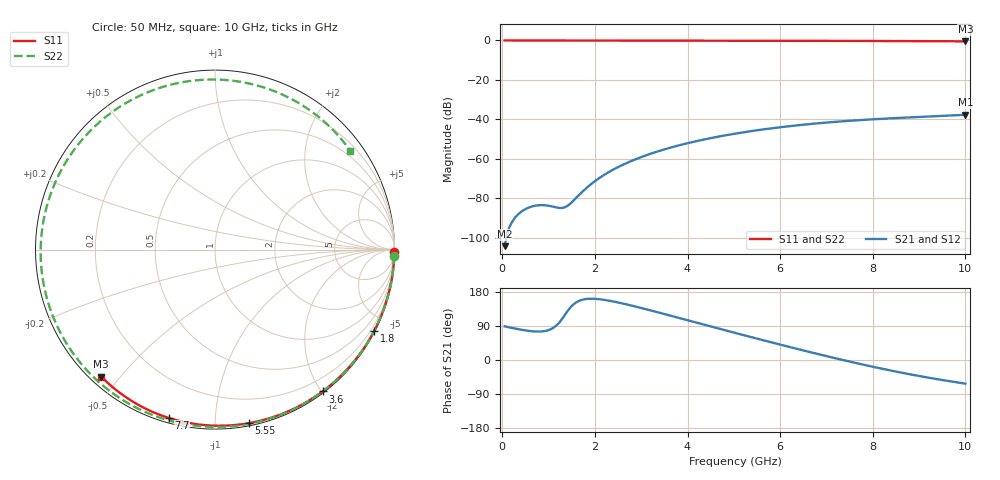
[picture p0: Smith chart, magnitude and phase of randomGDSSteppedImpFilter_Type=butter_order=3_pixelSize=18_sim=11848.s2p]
! freq	dB(S11)	phase(S11)	dB(S12)	phase(S12)
!  dB(S21)	phase(S21)	dB(S22)	phase(S22)
!S-par simulation data
#  GHz  S  DB  R 50
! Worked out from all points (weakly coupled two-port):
!   200 points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, 50 MHz to 10 GHz, reference 50 ohm
!   highest |S21| = -37.71 dB at 10 GHz (marker M1); lowest = -104.4 dB at 50 MHz (marker M2)
!   lowest |S11| = -0.4 dB at 10 GHz (marker M3), VSWR 38.97, Z = 1.54 - j22.3 ohm
!   |S11| at or under -10 dB: nowhere
!   |S22| runs from -0.6 to 0.0 dB; largest |S21 - S12| = 0
!   S11 on the Smith chart (normalised r, x): 50 MHz: open; 1.8 GHz: 0.04, -4.16; 3.6 GHz: 0.02, -2.01; 5.55 GHz: 0.02, -1.22; 7.7 GHz: 0.02, -0.76; 10 GHz: 0.03, -0.45
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0.05  -0.00 -0.8  -104.36 88.9  -104.36 88.9  -0.00 -1.9
0.4  -0.01 -6.1  -87.04 80.1  -87.04 80.1  -0.02 -15.3
0.75  -0.01 -11.4  -83.69 75.1  -83.69 75.1  -0.04 -28.5
1.55  -0.03 -23.3  -80.95 148.0  -80.95 148.0  -0.07 -57.8
1.6  -0.03 -24.1  -79.76 152.3  -79.76 152.3  -0.07 -59.6
1.75  -0.03 -26.3  -76.29 159.6  -76.29 159.6  -0.08 -64.9
1.8  -0.03 -27.0  -75.21 160.8  -75.21 160.8  -0.08 -66.6
2.1  -0.04 -31.4  -69.72 160.3  -69.72 160.3  -0.09 -76.9
2.45  -0.05 -36.5  -64.85 153.1  -64.85 153.1  -0.11 -88.6
2.9  -0.06 -43.0  -60.07 140.3  -60.07 140.3  -0.12 -103.1
3.4  -0.07 -50.0  -55.97 124.6  -55.97 124.6  -0.14 -118.6
3.6  -0.07 -52.8  -54.57 118.1  -54.57 118.1  -0.15 -124.6
4.35  -0.09 -63.1  -50.27 93.5  -50.27 93.5  -0.19 -146.7
5.05  -0.11 -72.4  -47.19 70.8  -47.19 70.8  -0.22 -166.8
5.55  -0.13 -78.9  -45.41 54.8  -45.41 54.8  -0.25 178.9
6.1  -0.15 -85.9  -43.76 37.5  -43.76 37.5  -0.29 163.0
6.7  -0.18 -93.3  -42.28 19.2  -42.28 19.2  -0.34 145.2
7.7  -0.24 -105.4  -40.43 -9.7  -40.43 -9.7  -0.41 114.0
8.35  -0.29 -113.0  -39.55 -26.8  -39.55 -26.8  -0.46 92.7
8.75  -0.32 -117.6  -39.09 -36.5  -39.09 -36.5  -0.49 79.2
9.15  -0.36 -122.2  -38.65 -45.6  -38.65 -45.6  -0.52 65.4
10  -0.45 -131.9  -37.71 -62.3  -37.71 -62.3  -0.60 36.1
